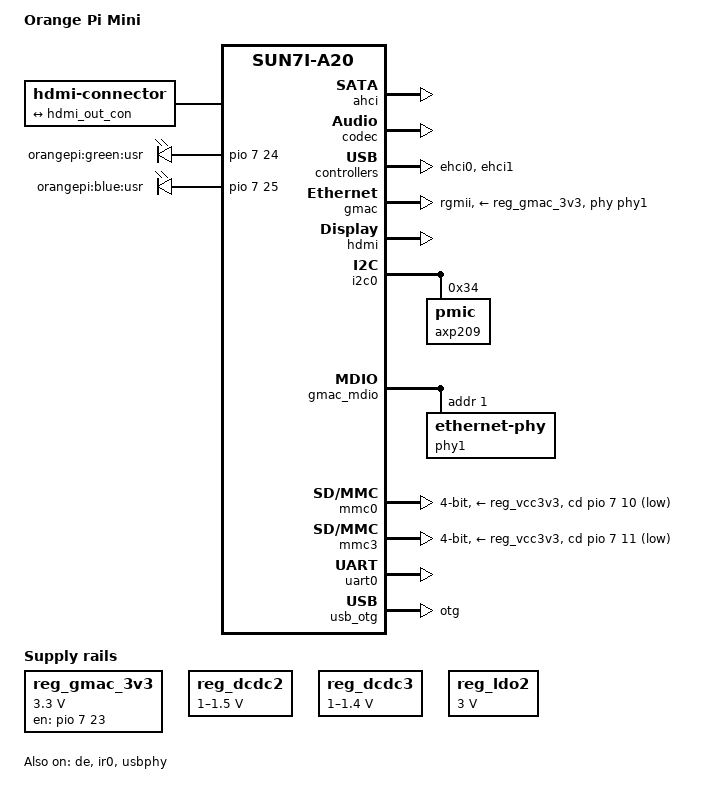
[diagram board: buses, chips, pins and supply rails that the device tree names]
/*
 * Copyright 2015 Hans de Goede <hdegoede@redhat.com>
 *
 * Hans de Goede <hdegoede@redhat.com>
 *
 * This file is dual-licensed: you can use it either under the terms
 * of the GPL or the X11 license, at your option. Note that this dual
 * licensing only applies to this file, and not this project as a
 * whole.
 *
 *  a) This file is free software; you can redistribute it and/or
 *     modify it under the terms of the GNU General Public License as
 *     published by the Free Software Foundation; either version 2 of the
 *     License, or (at your option) any later version.
 *
 *     This file is distributed in the hope that it will be useful,
 *     but WITHOUT ANY WARRANTY; without even the implied warranty of
 *     MERCHANTABILITY or FITNESS FOR A PARTICULAR PURPOSE.  See the
 *     GNU General Public License for more details.
 *
 * Or, alternatively,
 *
 *  b) Permission is hereby granted, free of charge, to any person
 *     obtaining a copy of this software and associated documentation
 *     files (the "Software"), to deal in the Software without
 *     restriction, including without limitation the rights to use,
 *     copy, modify, merge, publish, distribute, sublicense, and/or
 *     sell copies of the Software, and to permit persons to whom the
 *     Software is furnished to do so, subject to the following
 *     conditions:
 *
 *     The above copyright notice and this permission notice shall be
 *     included in all copies or substantial portions of the Software.
 *
 *     THE SOFTWARE IS PROVIDED "AS IS", WITHOUT WARRANTY OF ANY KIND,
 *     EXPRESS OR IMPLIED, INCLUDING BUT NOT LIMITED TO THE WARRANTIES
 *     OF MERCHANTABILITY, FITNESS FOR A PARTICULAR PURPOSE AND
 *     NONINFRINGEMENT. IN NO EVENT SHALL THE AUTHORS OR COPYRIGHT
 *     HOLDERS BE LIABLE FOR ANY CLAIM, DAMAGES OR OTHER LIABILITY,
 *     WHETHER IN AN ACTION OF CONTRACT, TORT OR OTHERWISE, ARISING
 *     FROM, OUT OF OR IN CONNECTION WITH THE SOFTWARE OR THE USE OR
 *     OTHER DEALINGS IN THE SOFTWARE.
 */

/dts-v1/;
#include "sun7i-a20.dtsi"
#include "sunxi-common-regulators.dtsi"

#include <dt-bindings/gpio/gpio.h>
#include <dt-bindings/interrupt-controller/irq.h>

/ {
	model = "Orange Pi Mini";
	compatible = "xunlong,orangepi-mini", "allwinner,sun7i-a20";

	aliases {
		serial0 = &uart0;
	};

	chosen {
		stdout-path = "serial0:115200n8";
	};

	hdmi-connector {
		compatible = "hdmi-connector";
		type = "a";

		port {
			hdmi_con_in: endpoint {
				remote-endpoint = <&hdmi_out_con>;
			};
		};
	};

	leds {
		compatible = "gpio-leds";

		led-0 {
			label = "orangepi:green:usr";
			gpios = <&pio 7 24 GPIO_ACTIVE_HIGH>; /* PH24 */
		};

		led-1 {
			label = "orangepi:blue:usr";
			gpios = <&pio 7 25 GPIO_ACTIVE_HIGH>; /* PH25 */
		};
	};

	reg_gmac_3v3: gmac-3v3 {
		compatible = "regulator-fixed";
		regulator-name = "gmac-3v3";
		regulator-min-microvolt = <3300000>;
		regulator-max-microvolt = <3300000>;
		startup-delay-us = <100000>;
		enable-active-high;
		gpio = <&pio 7 23 GPIO_ACTIVE_HIGH>; /* PH23 */
	};
};

&ahci {
	status = "okay";
};

&codec {
	status = "okay";
};

&de {
	status = "okay";
};

&ehci0 {
	status = "okay";
};

&ehci1 {
	status = "okay";
};

&gmac {
	pinctrl-names = "default";
	pinctrl-0 = <&gmac_rgmii_pins>;
	phy-handle = <&phy1>;
	phy-mode = "rgmii";
	phy-supply = <&reg_gmac_3v3>;
	status = "okay";
};

&hdmi {
	status = "okay";
};

&hdmi_out {
	hdmi_out_con: endpoint {
		remote-endpoint = <&hdmi_con_in>;
	};
};

&i2c0 {
	status = "okay";

	axp209: pmic@34 {
		reg = <0x34>;
		interrupt-parent = <&nmi_intc>;
		interrupts = <0 IRQ_TYPE_LEVEL_LOW>;
	};
};

#include "axp209.dtsi"

&ir0 {
	pinctrl-names = "default";
	pinctrl-0 = <&ir0_rx_pin>;
	status = "okay";
};

&gmac_mdio {
	phy1: ethernet-phy@1 {
		reg = <1>;
	};
};

&mmc0 {
	vmmc-supply = <&reg_vcc3v3>;
	bus-width = <4>;
	cd-gpios = <&pio 7 10 GPIO_ACTIVE_LOW>; /* PH10 */
	status = "okay";
};

&mmc3 {
	vmmc-supply = <&reg_vcc3v3>;
	bus-width = <4>;
	cd-gpios = <&pio 7 11 GPIO_ACTIVE_LOW>; /* PH11 */
	status = "okay";
};

&otg_sram {
	status = "okay";
};

&reg_dcdc2 {
	regulator-always-on;
	regulator-min-microvolt = <1000000>;
	regulator-max-microvolt = <1500000>;
	regulator-name = "vdd-cpu";
};

&reg_dcdc3 {
	regulator-always-on;
	regulator-min-microvolt = <1000000>;
	regulator-max-microvolt = <1400000>;
	regulator-name = "vdd-int-pll";
};

&reg_ldo1 {
	regulator-name = "vdd-rtc";
};

&reg_ldo2 {
	regulator-always-on;
	regulator-min-microvolt = <3000000>;
	regulator-max-microvolt = <3000000>;
	regulator-name = "avcc";
};

&reg_usb0_vbus {
	status = "okay";
};

&reg_usb1_vbus {
	gpio = <&pio 7 26 GPIO_ACTIVE_HIGH>; /* PH26 */
	status = "okay";
};

&reg_usb2_vbus {
	gpio = <&pio 7 22 GPIO_ACTIVE_HIGH>; /* PH22 */
	status = "okay";
};

&uart0 {
	pinctrl-names = "default";
	pinctrl-0 = <&uart0_pb_pins>;
	status = "okay";
};

&usb_otg {
	dr_mode = "otg";
	status = "okay";
};

&usb_power_supply {
	status = "okay";
};

&usbphy {
	usb0_id_det-gpios = <&pio 7 4 (GPIO_ACTIVE_HIGH | GPIO_PULL_UP)>; /* PH4 */
	usb0_vbus_power-supply = <&usb_power_supply>;
	usb0_vbus-supply = <&reg_usb0_vbus>;
	usb1_vbus-supply = <&reg_usb1_vbus>;
	usb2_vbus-supply = <&reg_usb2_vbus>;
	status = "okay";
};
